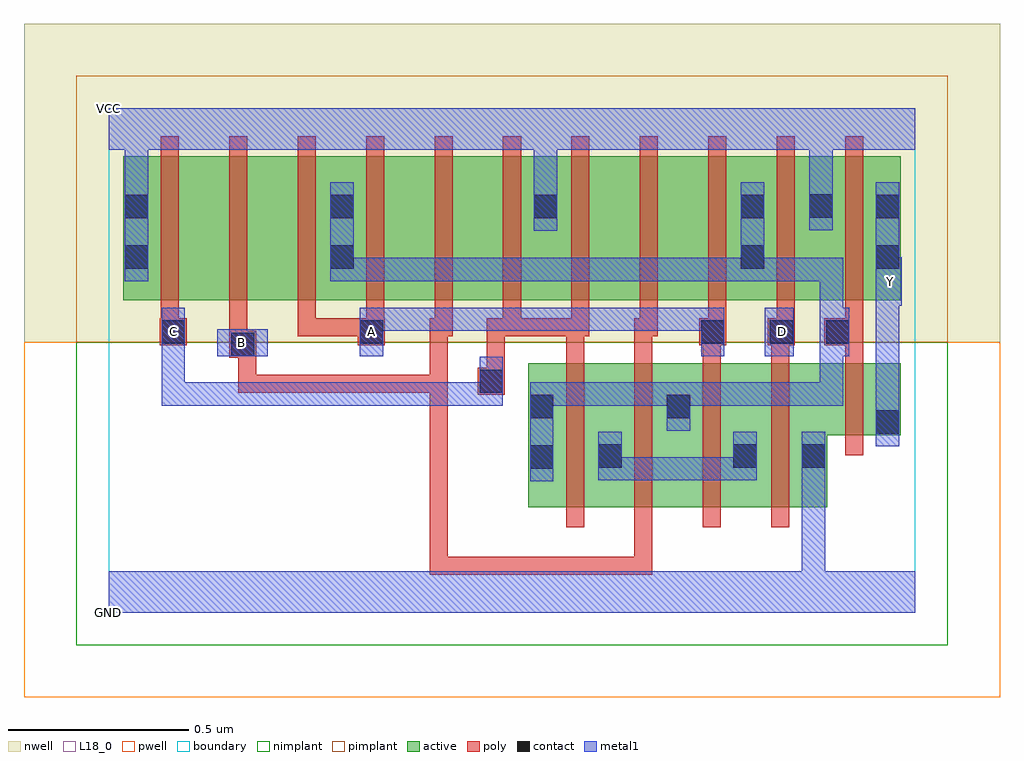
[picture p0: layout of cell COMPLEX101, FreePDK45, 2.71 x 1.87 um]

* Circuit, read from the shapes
.subckt COMPLEX101 A B C D GND VCC Y
M1 n1 C n2 VSUBS nfet w=0.4u l=0.05u
M2 n2 B n1 VSUBS nfet w=0.4u l=0.05u
M3 n1 A n2 VSUBS nfet w=0.4u l=0.05u
M4 GND D n1 VSUBS nfet w=0.4u l=0.05u
M5 Y n2 GND VSUBS nfet w=0.2u l=0.05u
M6 n3 C VCC n4 pfet w=0.4u l=0.05u
M7 n5 B n3 n4 pfet w=0.4u l=0.05u
M8 n2 A n5 n4 pfet w=0.4u l=0.05u
M9 n6 A n2 n4 pfet w=0.4u l=0.05u
M10 n7 B n6 n4 pfet w=0.4u l=0.05u
M11 VCC C n7 n4 pfet w=0.4u l=0.05u
M12 n8 C VCC n4 pfet w=0.4u l=0.05u
M13 n9 B n8 n4 pfet w=0.4u l=0.05u
M14 n2 A n9 n4 pfet w=0.4u l=0.05u
M15 VCC D n2 n4 pfet w=0.4u l=0.05u
M16 Y n2 VCC n4 pfet w=0.4u l=0.05u
.ends

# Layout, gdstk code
import gdstk
lib = gdstk.Library(unit=1e-6, precision=1e-09)
def R(c, l, rs):  # rectangles x0, y0, x1, y1
    for r in rs: c.add(gdstk.rectangle(r[:2], r[2:], *l))
def A(c, l, x, y, w, h, nx, ny, dx, dy):  # array of equal rectangles
    R(c, l, [(x+i*dx, y+j*dy, x+i*dx+w, y+j*dy+h) for i in range(nx) for j in range(ny)])
active = (1, 0)
pwell = (2, 0)
nwell = (3, 0)
nimplant = (4, 0)
pimplant = (5, 0)
poly = (9, 0)
contact = (10, 0)
metal1 = (11, 0)
L18_0 = (18, 0)
boundary = (235, 0)

complex101 = lib.new_cell('COMPLEX101')
A(complex101, active, 0.265, 0.867, 0.19, 0.4, 3, 1, 0.57, 0)
R(complex101, active, [(1.165,0.292,1.43,0.692), (1.355,0.292,1.62,0.692), (1.545,0.292,1.805,0.692), (1.73,0.292,1.995,0.692), (1.92,0.292,1.995,0.597), (1.165,0.295,1.24,0.692), (1.355,0.295,1.43,0.537), (1.545,0.295,1.62,0.692), (1.73,0.295,1.805,0.597), (1.92,0.492,2.2,0.692), (2.125,0.492,2.2,0.692), (0.04,0.867,0.115,1.267), (0.04,0.867,0.265,1.267), (0.455,0.867,0.685,1.267), (0.61,0.867,0.685,1.2), (0.61,0.867,0.835,1.267), (1.025,0.867,1.25,1.267), (1.175,0.867,1.25,1.267), (1.175,0.867,1.405,1.267), (1.595,0.867,1.825,1.267), (1.75,0.867,2.015,1.267), (1.75,0.867,1.825,1.2), (1.94,0.867,2.2,1.267), (1.94,0.867,2.015,1.267), (2.125,0.867,2.2,1.2)])
R(complex101, pwell, [(-0.235,-0.235,2.475,0.75)])
R(complex101, nwell, [(-0.235,0.75,2.475,1.635)])
R(complex101, nimplant, [(-0.09,-0.09,2.33,0.75)])
R(complex101, pimplant, [(-0.09,0.75,2.33,1.49)])
A(complex101, poly, 1.27, 0.237, 0.05, 0.51, 4, 1, 0.19, 0)
A(complex101, poly, 0.525, 0.767, 0.05, 0.095, 9, 1, 0.19, 0)
A(complex101, poly, 0.145, 0.812, 0.05, 0.51, 11, 1, 0.19, 0)
R(complex101, poly, [(0.892,0.105,0.942,0.155), (0.892,0.105,0.942,0.155), (0.892,0.105,0.942,0.155), (0.892,0.105,0.942,0.155), (0.892,0.105,0.942,0.155), (0.892,0.105,0.942,0.155), (0.892,0.105,0.942,0.155), (0.892,0.105,1.187,0.155), (0.892,0.105,0.942,0.66), (1.137,0.105,1.187,0.155), (1.137,0.105,1.187,0.155), (1.137,0.105,1.187,0.155), (1.137,0.105,1.32,0.155), (1.27,0.105,1.32,0.155), (1.27,0.105,1.51,0.155), (1.46,0.105,1.51,0.287), (1.46,0.105,1.51,0.155), (1.46,0.105,1.51,0.155), (1.46,0.105,1.51,0.155), (2.045,0.437,2.095,0.747), (1.025,0.605,1.1,0.68), (0.36,0.61,0.41,0.66), (0.36,0.61,0.41,0.66), (0.36,0.61,0.41,0.66), (0.36,0.61,0.41,0.66), (0.36,0.61,0.41,0.66), (0.36,0.61,0.542,0.66), (0.36,0.61,0.41,0.757), (0.492,0.61,0.542,0.66), (0.492,0.61,0.542,0.66), (0.492,0.61,0.542,0.66), (0.492,0.61,0.81,0.66), (0.76,0.61,0.81,0.66), (0.76,0.61,0.81,0.66), (0.76,0.61,0.81,0.66), (0.76,0.61,0.942,0.66), (0.892,0.61,0.942,0.66), (0.892,0.61,0.942,0.817), (1.05,0.63,1.1,0.817), (1.27,0.697,1.32,0.817), (1.46,0.697,1.51,0.817), (1.65,0.697,1.7,0.792), (1.84,0.697,1.89,0.792), (2.045,0.697,2.095,0.792), (0.335,0.707,0.41,0.782), (0.335,0.732,0.385,0.862), (0.142,0.742,0.217,0.817), (0.692,0.742,0.767,0.817), (1.64,0.742,1.715,0.817), (1.83,0.742,1.905,0.817), (1.987,0.742,2.095,0.817), (0.145,0.767,0.195,0.862), (0.525,0.767,0.575,0.817), (0.525,0.767,0.575,0.817), (0.525,0.767,0.575,0.817), (0.525,0.767,0.742,0.817), (0.892,0.767,0.955,0.817), (0.905,0.767,0.955,0.817), (0.905,0.767,0.955,0.817), (1.05,0.767,1.115,0.817), (1.065,0.767,1.115,0.817), (1.065,0.767,1.145,0.817), (1.095,0.767,1.145,0.817), (1.095,0.767,1.145,0.817), (1.095,0.767,1.32,0.817), (1.27,0.767,1.335,0.817), (1.46,0.767,1.525,0.817)])
R(complex101, contact, [(1.17,0.4,1.235,0.465), (1.36,0.402,1.425,0.467), (1.735,0.402,1.8,0.467), (1.925,0.402,1.99,0.467), (2.13,0.497,2.195,0.562), (1.17,0.54,1.235,0.605), (1.55,0.54,1.615,0.605), (1.03,0.61,1.095,0.675), (0.34,0.712,0.405,0.777), (0.147,0.747,0.212,0.812), (0.697,0.747,0.762,0.812), (1.645,0.747,1.71,0.812), (1.835,0.747,1.9,0.812), (1.992,0.747,2.057,0.812), (0.045,0.955,0.11,1.02), (0.615,0.955,0.68,1.02), (1.755,0.955,1.82,1.02), (2.13,0.955,2.195,1.02), (0.045,1.095,0.11,1.16), (0.615,1.095,0.68,1.16), (1.18,1.095,1.245,1.16), (1.755,1.095,1.82,1.16), (2.13,1.095,2.195,1.16), (1.945,1.097,2.01,1.162)])
R(complex101, metal1, [(0,0,2.24,0.115), (1.925,0.05,1.99,0.432), (1.17,0.365,1.235,0.64), (1.36,0.367,1.425,0.432), (1.36,0.367,1.425,0.432), (1.36,0.367,1.425,0.502), (1.36,0.367,1.662,0.432), (1.597,0.367,1.662,0.432), (1.597,0.367,1.662,0.432), (1.597,0.367,1.662,0.432), (1.597,0.367,1.8,0.432), (1.735,0.367,1.8,0.502), (1.925,0.367,1.99,0.432), (1.925,0.367,1.99,0.432), (1.925,0.367,1.99,0.502), (2.13,0.462,2.195,0.597), (1.55,0.505,1.615,0.64), (2.13,0.532,2.195,0.917), (0.147,0.575,0.212,0.64), (0.147,0.575,0.35,0.64), (0.147,0.575,0.212,0.777), (0.285,0.575,0.35,0.64), (0.285,0.575,0.35,0.64), (0.285,0.575,0.35,0.64), (0.285,0.575,0.542,0.64), (0.477,0.575,0.542,0.64), (0.477,0.575,0.542,0.64), (0.477,0.575,0.542,0.64), (0.477,0.575,0.762,0.64), (0.697,0.575,0.762,0.64), (0.697,0.575,0.9,0.64), (0.835,0.575,0.9,0.64), (0.835,0.575,0.9,0.64), (0.835,0.575,0.9,0.64), (0.835,0.575,1.095,0.64), (1.03,0.575,1.095,0.64), (1.03,0.575,1.095,0.64), (1.03,0.575,1.095,0.64), (1.03,0.575,1.095,0.64), (1.03,0.575,1.095,0.71), (1.17,0.575,1.235,0.64), (1.17,0.575,1.235,0.64), (1.17,0.575,1.372,0.64), (1.307,0.575,1.372,0.64), (1.307,0.575,1.372,0.64), (1.307,0.575,1.372,0.64), (1.307,0.575,1.615,0.64), (1.55,0.575,1.615,0.64), (1.55,0.575,1.615,0.64), (1.55,0.575,1.852,0.64), (1.787,0.575,1.852,0.64), (1.787,0.575,1.852,0.64), (1.787,0.575,1.852,0.64), (1.787,0.575,2.04,0.64), (1.975,0.575,2.04,0.64), (1.975,0.575,2.04,0.847), (0.147,0.712,0.212,0.777), (0.147,0.712,0.212,0.777), (0.147,0.712,0.212,0.847), (0.302,0.712,0.442,0.787), (0.697,0.712,0.762,0.847), (1.645,0.712,1.71,0.847), (1.822,0.712,1.902,0.847), (1.992,0.712,2.057,0.847), (0.697,0.782,0.9,0.847), (0.835,0.782,0.9,0.847), (0.835,0.782,0.9,0.847), (0.835,0.782,0.9,0.847), (0.835,0.782,1.097,0.847), (1.032,0.782,1.097,0.847), (1.032,0.782,1.097,0.847), (1.032,0.782,1.097,0.847), (1.032,0.782,1.235,0.847), (1.17,0.782,1.235,0.847), (1.17,0.782,1.235,0.847), (1.17,0.782,1.235,0.847), (1.17,0.782,1.477,0.847), (1.412,0.782,1.477,0.847), (1.412,0.782,1.477,0.847), (1.412,0.782,1.477,0.847), (1.412,0.782,1.615,0.847), (1.55,0.782,1.615,0.847), (1.55,0.782,1.71,0.847), (1.975,0.782,2.04,0.847), (1.975,0.782,2.057,0.847), (1.975,0.782,2.04,0.985), (2.13,0.852,2.202,0.987), (0.045,0.92,0.11,1.195), (0.615,0.92,0.68,0.985), (0.615,0.92,0.68,0.985), (0.615,0.92,0.68,1.195), (0.615,0.92,0.9,0.985), (0.835,0.92,0.9,0.985), (0.835,0.92,0.9,0.985), (0.835,0.92,0.9,0.985), (0.835,0.92,1.097,0.985), (1.032,0.92,1.097,0.985), (1.032,0.92,1.097,0.985), (1.032,0.92,1.097,0.985), (1.032,0.92,1.235,0.985), (1.17,0.92,1.235,0.985), (1.17,0.92,1.235,0.985), (1.17,0.92,1.235,0.985), (1.17,0.92,1.372,0.985), (1.307,0.92,1.372,0.985), (1.307,0.92,1.372,0.985), (1.307,0.92,1.372,0.985), (1.307,0.92,1.662,0.985), (1.597,0.92,1.662,0.985), (1.597,0.92,1.662,0.985), (1.597,0.92,1.662,0.985), (1.597,0.92,1.82,0.985), (1.755,0.92,1.82,0.985), (1.755,0.92,1.82,0.985), (1.755,0.92,1.82,1.195), (1.755,0.92,2.04,0.985), (1.975,0.92,2.04,0.985), (2.13,0.92,2.195,0.985), (2.13,0.92,2.195,1.195), (1.18,1.06,1.245,1.195), (1.945,1.062,2.01,1.197), (0.045,1.13,0.11,1.35), (1.18,1.13,1.245,1.35), (1.945,1.132,2.01,1.35), (0,1.285,2.24,1.4)])
R(complex101, L18_0, [(0,0,2.24,0.115), (1.925,0.05,1.99,0.432), (1.925,0.367,1.99,0.502), (1.925,0.367,1.99,0.432), (1.925,0.367,1.99,0.432), (2.13,0.462,2.195,0.597), (2.13,0.532,2.195,0.917), (0.147,0.575,0.212,0.64), (0.147,0.575,0.212,0.777), (0.147,0.575,0.35,0.64), (0.285,0.575,0.35,0.64), (0.285,0.575,0.35,0.64), (0.285,0.575,0.35,0.64), (0.285,0.575,0.542,0.64), (0.477,0.575,0.542,0.64), (0.477,0.575,0.542,0.64), (0.477,0.575,0.542,0.64), (0.477,0.575,0.762,0.64), (0.697,0.575,0.762,0.64), (0.697,0.575,0.9,0.64), (0.835,0.575,0.9,0.64), (0.835,0.575,0.9,0.64), (0.835,0.575,0.9,0.64), (0.835,0.575,1.095,0.64), (1.03,0.575,1.095,0.71), (1.03,0.575,1.095,0.64), (1.03,0.575,1.095,0.64), (1.03,0.575,1.095,0.64), (1.03,0.575,1.095,0.64), (0.147,0.712,0.212,0.847), (0.147,0.712,0.212,0.777), (0.147,0.712,0.212,0.777), (0.302,0.712,0.442,0.787), (0.697,0.712,0.762,0.847), (1.645,0.712,1.71,0.847), (1.822,0.712,1.902,0.847), (0.337,0.717,0.402,0.782), (0.147,0.747,0.212,0.812), (0.697,0.747,0.762,0.812), (1.837,0.747,1.902,0.812), (0.697,0.782,0.9,0.847), (0.835,0.782,0.9,0.847), (0.835,0.782,0.9,0.847), (0.835,0.782,0.9,0.847), (0.835,0.782,1.097,0.847), (1.032,0.782,1.097,0.847), (1.032,0.782,1.097,0.847), (1.032,0.782,1.097,0.847), (1.032,0.782,1.235,0.847), (1.17,0.782,1.235,0.847), (1.17,0.782,1.235,0.847), (1.17,0.782,1.235,0.847), (1.17,0.782,1.477,0.847), (1.412,0.782,1.477,0.847), (1.412,0.782,1.477,0.847), (1.412,0.782,1.477,0.847), (1.412,0.782,1.615,0.847), (1.55,0.782,1.615,0.847), (1.55,0.782,1.71,0.847), (2.13,0.852,2.202,0.987), (2.137,0.887,2.202,0.952), (0.045,0.92,0.11,1.195), (2.13,0.92,2.195,1.195), (2.13,0.92,2.195,0.985), (1.18,1.06,1.245,1.195), (1.945,1.062,2.01,1.197), (0.045,1.13,0.11,1.35), (1.18,1.13,1.245,1.35), (1.945,1.132,2.01,1.35), (0,1.285,2.24,1.4)])
R(complex101, boundary, [(0,0,2.24,1.4)])
complex101.add(gdstk.Label('A', (0.73,0.78), layer=11, texttype=0))
complex101.add(gdstk.Label('B', (0.37,0.75), layer=11, texttype=0))
complex101.add(gdstk.Label('C', (0.18,0.78), layer=11, texttype=0))
complex101.add(gdstk.Label('D', (1.87,0.78), layer=11, texttype=0))
complex101.add(gdstk.Label('Y', (2.17,0.92), layer=11, texttype=0))
complex101.add(gdstk.Label('VCC', (0,1.4), layer=11, texttype=0))
complex101.add(gdstk.Label('GND', (0,0), layer=11, texttype=0))

lib.write_gds('COMPLEX101.gds')
